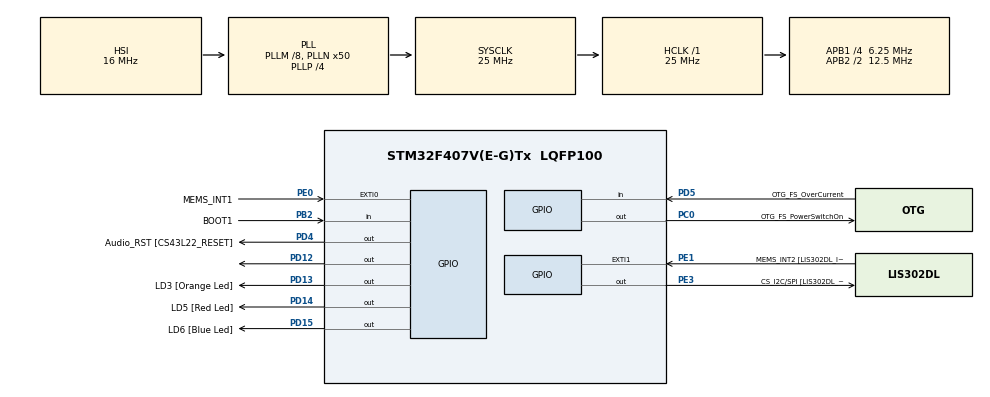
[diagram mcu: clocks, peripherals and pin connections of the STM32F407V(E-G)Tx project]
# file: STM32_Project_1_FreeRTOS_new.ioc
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FREERTOS.BinarySemaphores01=tapSemaphore,Dynamic,NULL,Depleted
FREERTOS.Mutexes01=uartMutex,Dynamic,NULL,Available;sensorMutex,Dynamic,NULL,Available
FREERTOS.Queues01=sensorQueue,8,SensorPortRawData_t,0,Dynamic,NULL,NULL
FREERTOS.Tasks01=defaultTask,8,256,StartDefaultTask,Default,NULL,Dynamic,NULL,NULL;sensorTask,24,256,StartSensorTask,Default,NULL,Dynamic,NULL,NULL;processingTask,16,256,StartProcessingTask,Default,NULL,Dynamic,NULL,NULL;telemetryTask,16,512,StartTelemetryTask,Default,NULL,Dynamic,NULL,NULL;cliTask,24,512,StartCliTask,Default,NULL,Dynamic,NULL,NULL
FREERTOS.configUSE_NEWLIB_REENTRANT=1
Mcu.Family=STM32F4
Mcu.Name=STM32F407V(E-G)Tx
Mcu.Package=LQFP100
NVIC.EXTI0_IRQn=true\:6\:0\:true\:false\:true\:true\:true\:true\:true
NVIC.PriorityGroup=NVIC_PRIORITYGROUP_4
NVIC.TIM6_DAC_IRQn=true\:15\:0\:false\:false\:true\:false\:false\:true\:true
NVIC.TimeBase=TIM6_DAC_IRQn
NVIC.TimeBaseIP=TIM6
PA10.GPIO_Label=OTG_FS_ID
PA10.GPIO_Mode=GPIO_MODE_AF_PP
PA10.GPIO_PuPd=GPIO_NOPULL
PA10.GPIO_Speed=GPIO_SPEED_FREQ_LOW
PA10.Signal=USB_OTG_FS_ID
PA11.GPIO_Label=OTG_FS_DM
PA11.GPIO_Mode=GPIO_MODE_AF_PP
PA11.GPIO_PuPd=GPIO_NOPULL
PA11.GPIO_Speed=GPIO_SPEED_FREQ_LOW
PA11.Signal=USB_OTG_FS_DM
PA12.GPIO_Label=OTG_FS_DP
PA12.GPIO_Mode=GPIO_MODE_AF_PP
PA12.GPIO_PuPd=GPIO_NOPULL
PA12.GPIO_Speed=GPIO_SPEED_FREQ_LOW
PA12.Signal=USB_OTG_FS_DP
PA13.GPIO_Label=SWDIO
PA13.Mode=Serial_Wire
PA13.Signal=SYS_JTMS-SWDIO
PA14.GPIO_Label=SWCLK
PA14.Mode=Serial_Wire
PA14.Signal=SYS_JTCK-SWCLK
PA4.GPIO_Label=I2S3_WS [CS43L22_LRCK]
PA4.GPIO_Mode=GPIO_MODE_AF_PP
PA4.GPIO_PuPd=GPIO_NOPULL
PA4.GPIO_Speed=GPIO_SPEED_FREQ_LOW
PA4.Signal=I2S3_WS
PA5.GPIO_Label=SPI1_SCK [LIS302DL_SCL/SPC]
PA5.GPIO_Mode=GPIO_MODE_AF_PP
PA5.GPIO_PuPd=GPIO_NOPULL
PA5.GPIO_Speed=GPIO_SPEED_FREQ_LOW
PA5.Signal=SPI1_SCK
PA6.GPIO_Label=SPI1_MISO [LIS302DL_SDO]
PA6.GPIO_Mode=GPIO_MODE_AF_PP
PA6.GPIO_PuPd=GPIO_NOPULL
PA6.GPIO_Speed=GPIO_SPEED_FREQ_LOW
PA6.Signal=SPI1_MISO
PA7.GPIO_Label=SPI1_MOSI [LIS302DL_SDA/SDI/SDO]
PA7.GPIO_Mode=GPIO_MODE_AF_PP
PA7.GPIO_PuPd=GPIO_NOPULL
PA7.GPIO_Speed=GPIO_SPEED_FREQ_LOW
PA7.Signal=SPI1_MOSI
PA9.GPIO_Label=VBUS_FS
PA9.GPIO_Mode=GPIO_MODE_INPUT
PA9.GPIO_PuPd=GPIO_NOPULL
PA9.Signal=USB_OTG_FS_VBUS
PB10.GPIO_Label=CLK_IN [MP45DT02_CLK]
PB10.GPIO_Mode=GPIO_MODE_AF_PP
PB10.GPIO_PuPd=GPIO_NOPULL
PB10.GPIO_Speed=GPIO_SPEED_FREQ_LOW
PB10.Signal=I2S2_CK
PB2.GPIO_Label=BOOT1
PB2.GPIO_Mode=GPIO_MODE_INPUT
PB2.GPIO_PuPd=GPIO_NOPULL
PB2.Signal=GPIO_Input
PB3.GPIO_Label=SWO
PB3.Signal=SYS_JTDO-SWO
PB6.GPIO_Label=Audio_SCL [CS43L22_SCL]
PB6.GPIO_Mode=GPIO_MODE_AF_OD
PB6.GPIO_PuPd=GPIO_NOPULL
PB6.GPIO_Speed=GPIO_SPEED_FREQ_LOW
PB6.Signal=I2C1_SCL
PB9.GPIO_Label=Audio_SDA [CS43L22_SDA]
PB9.GPIO_Mode=GPIO_MODE_AF_OD
PB9.GPIO_PuPd=GPIO_NOPULL
PB9.GPIO_Speed=GPIO_SPEED_FREQ_LOW
PB9.Signal=I2C1_SDA
PC0.GPIO_Label=OTG_FS_PowerSwitchOn
PC0.GPIO_PuPd=GPIO_NOPULL
PC0.GPIO_Speed=GPIO_SPEED_FREQ_LOW
PC0.PinState=GPIO_PIN_SET
PC0.Signal=GPIO_Output
PC10.GPIO_Label=I2S3_SCK [CS43L22_SCLK]
PC10.GPIO_Mode=GPIO_MODE_AF_PP
PC10.GPIO_PuPd=GPIO_NOPULL
PC10.GPIO_Speed=GPIO_SPEED_FREQ_LOW
PC10.Signal=I2S3_CK
PC12.GPIO_Label=I2S3_SD [CS43L22_SDIN]
PC12.GPIO_Mode=GPIO_MODE_AF_PP
PC12.GPIO_PuPd=GPIO_NOPULL
PC12.GPIO_Speed=GPIO_SPEED_FREQ_LOW
PC12.Signal=I2S3_SD
PC14-OSC32_IN.GPIO_Label=PC14-OSC32_IN
PC14-OSC32_IN.Signal=RCC_OSC32_IN
PC15-OSC32_OUT.GPIO_Label=PC15-OSC32_OUT
PC15-OSC32_OUT.Signal=RCC_OSC32_OUT
PC3.GPIO_Label=PDM_OUT [MP45DT02_DOUT]
PC3.GPIO_Mode=GPIO_MODE_AF_PP
PC3.GPIO_PuPd=GPIO_NOPULL
PC3.GPIO_Speed=GPIO_SPEED_FREQ_LOW
PC3.Signal=I2S2_SD
PC7.GPIO_Label=I2S3_MCK [CS43L22_MCLK]
PC7.GPIO_Mode=GPIO_MODE_AF_PP
PC7.GPIO_PuPd=GPIO_NOPULL
PC7.GPIO_Speed=GPIO_SPEED_FREQ_LOW
PC7.Signal=I2S3_MCK
PD12.Signal=GPIO_Output
PD13.GPIO_Label=LD3 [Orange Led]
PD13.GPIO_PuPd=GPIO_NOPULL
PD13.GPIO_Speed=GPIO_SPEED_FREQ_LOW
PD13.Signal=GPIO_Output
PD14.GPIO_Label=LD5 [Red Led]
PD14.GPIO_PuPd=GPIO_NOPULL
PD14.GPIO_Speed=GPIO_SPEED_FREQ_LOW
PD14.Signal=GPIO_Output
PD15.GPIO_Label=LD6 [Blue Led]
PD15.GPIO_PuPd=GPIO_NOPULL
PD15.GPIO_Speed=GPIO_SPEED_FREQ_LOW
PD15.Signal=GPIO_Output
PD4.GPIO_Label=Audio_RST [CS43L22_RESET]
PD4.GPIO_PuPd=GPIO_NOPULL
PD4.GPIO_Speed=GPIO_SPEED_FREQ_LOW
PD4.Signal=GPIO_Output
PD5.GPIO_Label=OTG_FS_OverCurrent
PD5.GPIO_Mode=GPIO_MODE_INPUT
PD5.GPIO_PuPd=GPIO_NOPULL
PD5.Signal=GPIO_Input
PE0.GPIO_Label=MEMS_INT1
PE0.Signal=GPXTI0
PE1.GPIO_Label=MEMS_INT2 [LIS302DL_INT2]
PE1.GPIO_ModeDefaultEXTI=GPIO_MODE_EVT_RISING
PE1.GPIO_PuPd=GPIO_NOPULL
PE1.Signal=GPXTI1
PE3.GPIO_Label=CS_I2C/SPI [LIS302DL_CS_I2C/SPI]
PE3.GPIO_PuPd=GPIO_NOPULL
PE3.GPIO_Speed=GPIO_SPEED_FREQ_LOW
PE3.Signal=GPIO_Output
PH0-OSC_IN.GPIO_Label=PH0-OSC_IN
PH0-OSC_IN.Signal=RCC_OSC_IN
PH1-OSC_OUT.GPIO_Label=PH1-OSC_OUT
PH1-OSC_OUT.Signal=RCC_OSC_OUT
ProjectManager.HeapSize=0x200
ProjectManager.StackSize=0x400
ProjectManager.TargetToolchain=STM32CubeIDE
RCC.48MHZClocksFreq_Value=14285714.285714285
RCC.AHBFreq_Value=25000000
RCC.APB1CLKDivider=RCC_HCLK_DIV4
RCC.APB1Freq_Value=6250000
RCC.APB1TimFreq_Value=12500000
RCC.APB2CLKDivider=RCC_HCLK_DIV2
RCC.APB2Freq_Value=12500000
RCC.APB2TimFreq_Value=25000000
RCC.CortexFreq_Value=25000000
RCC.HCLKFreq_Value=25000000
RCC.HSE_VALUE=8000000
RCC.HSI_VALUE=16000000
RCC.LSE_VALUE=32768
RCC.PLLM=8
RCC.PLLN=50
RCC.PLLP=RCC_PLLP_DIV4
RCC.PLLQ=7
RCC.SYSCLKFreq_VALUE=25000000
RCC.SYSCLKSource=RCC_SYSCLKSOURCE_PLLCLK
RCC.VCOOutputFreq_Value=100000000
VP_FREERTOS_VS_CMSIS_V2.Mode=CMSIS_V2
VP_SYS_VS_tim6.Mode=TIM6
board=STM32F407G-DISC1

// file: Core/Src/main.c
/* USER CODE BEGIN Header */
/**
  ******************************************************************************
  * @file           : main.c
  * @brief          : Main program body
  ******************************************************************************
  * @attention
  *
  * Copyright (c) 2026 STMicroelectronics.
  * All rights reserved.
  *
  * This software is licensed under terms that can be found in the LICENSE file
  * in the root directory of this software component.
  * If no LICENSE file comes with this software, it is provided AS-IS.
  *
  ******************************************************************************
  */
/* USER CODE END Header */
#include "main.h"
#include "cmsis_os.h"
#include "FreeRTOS.h"

/* USER CODE BEGIN Includes */
#include "sensor_port.h"
#include "orientation.h"
#include "motion_detection.h"
#include "board.h"
#include "uart_async.h"
#include "cli.h"
#include <stdio.h>
/* USER CODE END Includes */

/* USER CODE BEGIN PD */
#define APP_THREAD_FLAG_TAP (1U << 0)
#define APP_TAP_FLASH_MS 200U
/* USER CODE END PD */

/* Definitions for defaultTask */
osThreadId_t defaultTaskHandle;
const osThreadAttr_t defaultTask_attributes = {
  .name = "defaultTask",
  .stack_size = 256 * 4,
  .priority = (osPriority_t) osPriorityLow,
};
/* Definitions for sensorTask */
osThreadId_t sensorTaskHandle;
const osThreadAttr_t sensorTask_attributes = {
  .name = "sensorTask",
  .stack_size = 256 * 4,
  .priority = (osPriority_t) osPriorityNormal,
};
/* Definitions for processingTask */
osThreadId_t processingTaskHandle;
const osThreadAttr_t processingTask_attributes = {
  .name = "processingTask",
  .stack_size = 256 * 4,
  .priority = (osPriority_t) osPriorityBelowNormal,
};
/* Definitions for telemetryTask */
osThreadId_t telemetryTaskHandle;
const osThreadAttr_t telemetryTask_attributes = {
  .name = "telemetryTask",
  .stack_size = 512 * 4,
  .priority = (osPriority_t) osPriorityBelowNormal,
};
/* Definitions for cliTask */
osThreadId_t cliTaskHandle;
const osThreadAttr_t cliTask_attributes = {
  .name = "cliTask",
  .stack_size = 512 * 4,
  .priority = (osPriority_t) osPriorityNormal,
};
/* Definitions for sensorQueue */
osMessageQueueId_t sensorQueueHandle;
const osMessageQueueAttr_t sensorQueue_attributes = {
  .name = "sensorQueue"
};
/* Definitions for uartMutex */
osMutexId_t uartMutexHandle;
const osMutexAttr_t uartMutex_attributes = {
  .name = "uartMutex"
};
/* Definitions for sensorMutex */
osMutexId_t sensorMutexHandle;
const osMutexAttr_t sensorMutex_attributes = {
  .name = "sensorMutex"
};
/* Definitions for tapSemaphore */
osSemaphoreId_t tapSemaphoreHandle;
const osSemaphoreAttr_t tapSemaphore_attributes = {
  .name = "tapSemaphore"
};
/* USER CODE BEGIN PV */

volatile uint8_t g_sensorInitStatus = 0U;
volatile uint8_t g_sensorId = 0U;
volatile uint32_t g_sensorTaskCount = 0U;
volatile int16_t g_sensorRawX = 0;
volatile int16_t g_sensorRawY = 0;
volatile int16_t g_sensorRawZ = 0;
volatile uint32_t g_sensorReadCount = 0U;

volatile uint32_t g_sensorQueueSendCount = 0U;
volatile uint32_t g_sensorQueueReceiveCount = 0U;
volatile uint32_t g_sensorQueueDropCount = 0U;

volatile int32_t g_sensorMgX = 0;
volatile int32_t g_sensorMgY = 0;
volatile int32_t g_sensorMgZ = 0;
volatile Orientation_t g_orientation = ORIENTATION_UNKNOWN;
volatile uint32_t g_processedSampleCount = 0U;

volatile TiltDirection_t g_tiltDirection = TILT_LEVEL;
volatile uint32_t g_tapIsrCount = 0U;

volatile uint8_t g_tapHardwareInitStatus = 0U;
volatile uint8_t g_lastTapInterruptSource = 0U;
volatile uint32_t g_tapCount = 0U;

static USART_Handle_t g_usart2Handle = {0};

const UART2_AsyncStats_t *g_uartStats = NULL;

volatile uint32_t g_telemetryFramesGenerated = 0U;
volatile uint32_t g_telemetryFramesDropped = 0U;

volatile uint8_t g_telemetryEnabled = 1U;
volatile uint16_t g_sensorRateHz = 100U;
volatile uint32_t g_rxBytesConsumed = 0U;
volatile LIS3DSH_MgData_t g_latestAccelerationMg = {0};

volatile uint32_t g_currentFreeHeapBytes = 0U;
volatile uint32_t g_minimumEverFreeHeapBytes = 0U;

volatile uint32_t g_defaultTaskStackFreeBytes = 0U;
volatile uint32_t g_sensorTaskStackFreeBytes = 0U;
volatile uint32_t g_processingTaskStackFreeBytes = 0U;
volatile uint32_t g_telemetryTaskStackFreeBytes = 0U;
volatile uint32_t g_cliTaskStackFreeBytes = 0U;

/* USER CODE END PV */

void SystemClock_Config(void);
static void MX_GPIO_Init(void);
void StartDefaultTask(void *argument);
void StartSensorTask(void *argument);
void StartProcessingTask(void *argument);
void StartTelemetryTask(void *argument);
void StartCliTask(void *argument);

/* USER CODE BEGIN PFP */
static void Application_ShowTiltLED(TiltDirection_t tilt);
/* USER CODE END PFP */

int main(void)
{

  /* MCU Configuration--------------------------------------------------------*/

  /* Reset of all peripherals, Initializes the Flash interface and the Systick. */
  HAL_Init();

  /* Configure the system clock */
  SystemClock_Config();

  /* Initialize all configured peripherals */
  MX_GPIO_Init();
  /* USER CODE BEGIN 2 */
  USART2_GPIO_Init();
  USART2_InitForTest(&g_usart2Handle);
  USART2->BRR = (HAL_RCC_GetPCLK1Freq() + 57600U) / 115200U;
  UART2_AsyncInit();
  g_uartStats = UART2_AsyncGetStats();

  g_sensorInitStatus = SensorPort_Init();
  g_sensorId = SensorPort_ReadId();
  Orientation_Init();
  MotionDetection_Init();
  /* USER CODE END 2 */

  /* Init scheduler */
  osKernelInitialize();
  /* Create the mutex(es) */
  /* creation of uartMutex */
  uartMutexHandle = osMutexNew(&uartMutex_attributes);

  /* creation of sensorMutex */
  sensorMutexHandle = osMutexNew(&sensorMutex_attributes);

  /* Create the semaphores(s) */
  /* creation of tapSemaphore */
  tapSemaphoreHandle = osSemaphoreNew(1, 0, &tapSemaphore_attributes);

  /* Create the queue(s) */
  /* creation of sensorQueue */
  sensorQueueHandle = osMessageQueueNew (8, sizeof(SensorPortRawData_t), &sensorQueue_attributes);

  /* Create the thread(s) */
  /* creation of defaultTask */
  defaultTaskHandle = osThreadNew(StartDefaultTask, NULL, &defaultTask_attributes);

  /* creation of sensorTask */
  sensorTaskHandle = osThreadNew(StartSensorTask, NULL, &sensorTask_attributes);

  /* creation of processingTask */
  processingTaskHandle = osThreadNew(StartProcessingTask, NULL, &processingTask_attributes);

  /* creation of telemetryTask */
  telemetryTaskHandle = osThreadNew(StartTelemetryTask, NULL, &telemetryTask_attributes);

  /* creation of cliTask */
  cliTaskHandle = osThreadNew(StartCliTask, NULL, &cliTask_attributes);

  /* Start scheduler */
  osKernelStart();

  /* We should never get here as control is now taken by the scheduler */

  /* Infinite loop */
  while (1)
  {

  }
}

void SystemClock_Config(void)
{
  RCC_OscInitTypeDef RCC_OscInitStruct = {0};
  RCC_ClkInitTypeDef RCC_ClkInitStruct = {0};

  /** Configure the main internal regulator output voltage
  */
  __HAL_RCC_PWR_CLK_ENABLE();
  __HAL_PWR_VOLTAGESCALING_CONFIG(PWR_REGULATOR_VOLTAGE_SCALE1);

  /** Initializes the RCC Oscillators according to the specified parameters
  * in the RCC_OscInitTypeDef structure.
  */
  RCC_OscInitStruct.OscillatorType = RCC_OSCILLATORTYPE_HSI;
  RCC_OscInitStruct.HSIState = RCC_HSI_ON;
  RCC_OscInitStruct.HSICalibrationValue = RCC_HSICALIBRATION_DEFAULT;
  RCC_OscInitStruct.PLL.PLLState = RCC_PLL_ON;
  RCC_OscInitStruct.PLL.PLLSource = RCC_PLLSOURCE_HSI;
  RCC_OscInitStruct.PLL.PLLM = 8;
  RCC_OscInitStruct.PLL.PLLN = 50;
  RCC_OscInitStruct.PLL.PLLP = RCC_PLLP_DIV4;
  RCC_OscInitStruct.PLL.PLLQ = 7;
  if (HAL_RCC_OscConfig(&RCC_OscInitStruct) != HAL_OK)
  {
    Error_Handler();
  }

  /** Initializes the CPU, AHB and APB buses clocks
  */
  RCC_ClkInitStruct.ClockType = RCC_CLOCKTYPE_HCLK|RCC_CLOCKTYPE_SYSCLK
                              |RCC_CLOCKTYPE_PCLK1|RCC_CLOCKTYPE_PCLK2;
  RCC_ClkInitStruct.SYSCLKSource = RCC_SYSCLKSOURCE_PLLCLK;
  RCC_ClkInitStruct.AHBCLKDivider = RCC_SYSCLK_DIV1;
  RCC_ClkInitStruct.APB1CLKDivider = RCC_HCLK_DIV4;
  RCC_ClkInitStruct.APB2CLKDivider = RCC_HCLK_DIV2;

  if (HAL_RCC_ClockConfig(&RCC_ClkInitStruct, FLASH_LATENCY_0) != HAL_OK)
  {
    Error_Handler();
  }
}

static void MX_GPIO_Init(void)
{
  GPIO_InitTypeDef GPIO_InitStruct = {0};

  /* GPIO Ports Clock Enable */
  __HAL_RCC_GPIOE_CLK_ENABLE();
  __HAL_RCC_GPIOC_CLK_ENABLE();
  __HAL_RCC_GPIOH_CLK_ENABLE();
  __HAL_RCC_GPIOA_CLK_ENABLE();
  __HAL_RCC_GPIOB_CLK_ENABLE();
  __HAL_RCC_GPIOD_CLK_ENABLE();

  /*Configure GPIO pin Output Level */
  HAL_GPIO_WritePin(CS_I2C_SPI_GPIO_Port, CS_I2C_SPI_Pin, GPIO_PIN_RESET);

  /*Configure GPIO pin Output Level */
  HAL_GPIO_WritePin(OTG_FS_PowerSwitchOn_GPIO_Port, OTG_FS_PowerSwitchOn_Pin, GPIO_PIN_SET);

  /*Configure GPIO pin Output Level */
  HAL_GPIO_WritePin(GPIOD, GPIO_PIN_12|LD3_Pin|LD5_Pin|LD6_Pin
                          |Audio_RST_Pin, GPIO_PIN_RESET);

  /*Configure GPIO pin : CS_I2C_SPI_Pin */
  GPIO_InitStruct.Pin = CS_I2C_SPI_Pin;
  GPIO_InitStruct.Mode = GPIO_MODE_OUTPUT_PP;
  GPIO_InitStruct.Pull = GPIO_NOPULL;
  GPIO_InitStruct.Speed = GPIO_SPEED_FREQ_LOW;
  HAL_GPIO_Init(CS_I2C_SPI_GPIO_Port, &GPIO_InitStruct);

  /*Configure GPIO pin : OTG_FS_PowerSwitchOn_Pin */
  GPIO_InitStruct.Pin = OTG_FS_PowerSwitchOn_Pin;
  GPIO_InitStruct.Mode = GPIO_MODE_OUTPUT_PP;
  GPIO_InitStruct.Pull = GPIO_NOPULL;
  GPIO_InitStruct.Speed = GPIO_SPEED_FREQ_LOW;
  HAL_GPIO_Init(OTG_FS_PowerSwitchOn_GPIO_Port, &GPIO_InitStruct);

  /*Configure GPIO pin : PDM_OUT_Pin */
  GPIO_InitStruct.Pin = PDM_OUT_Pin;
  GPIO_InitStruct.Mode = GPIO_MODE_AF_PP;
  GPIO_InitStruct.Pull = GPIO_NOPULL;
  GPIO_InitStruct.Speed = GPIO_SPEED_FREQ_LOW;
  GPIO_InitStruct.Alternate = GPIO_AF5_SPI2;
  HAL_GPIO_Init(PDM_OUT_GPIO_Port, &GPIO_InitStruct);

  /*Configure GPIO pin : I2S3_WS_Pin */
  GPIO_InitStruct.Pin = I2S3_WS_Pin;
  GPIO_InitStruct.Mode = GPIO_MODE_AF_PP;
  GPIO_InitStruct.Pull = GPIO_NOPULL;
  GPIO_InitStruct.Speed = GPIO_SPEED_FREQ_LOW;
  GPIO_InitStruct.Alternate = GPIO_AF6_SPI3;
  HAL_GPIO_Init(I2S3_WS_GPIO_Port, &GPIO_InitStruct);

  /*Configure GPIO pins : SPI1_SCK_Pin SPI1_MISO_Pin SPI1_MOSI_Pin */
  GPIO_InitStruct.Pin = SPI1_SCK_Pin|SPI1_MISO_Pin|SPI1_MOSI_Pin;
  GPIO_InitStruct.Mode = GPIO_MODE_AF_PP;
  GPIO_InitStruct.Pull = GPIO_NOPULL;
  GPIO_InitStruct.Speed = GPIO_SPEED_FREQ_LOW;
  GPIO_InitStruct.Alternate = GPIO_AF5_SPI1;
  HAL_GPIO_Init(GPIOA, &GPIO_InitStruct);

  /*Configure GPIO pin : BOOT1_Pin */
  GPIO_InitStruct.Pin = BOOT1_Pin;
  GPIO_InitStruct.Mode = GPIO_MODE_INPUT;
  GPIO_InitStruct.Pull = GPIO_NOPULL;
  HAL_GPIO_Init(BOOT1_GPIO_Port, &GPIO_InitStruct);

  /*Configure GPIO pin : CLK_IN_Pin */
  GPIO_InitStruct.Pin = CLK_IN_Pin;
  GPIO_InitStruct.Mode = GPIO_MODE_AF_PP;
  GPIO_InitStruct.Pull = GPIO_NOPULL;
  GPIO_InitStruct.Speed = GPIO_SPEED_FREQ_LOW;
  GPIO_InitStruct.Alternate = GPIO_AF5_SPI2;
  HAL_GPIO_Init(CLK_IN_GPIO_Port, &GPIO_InitStruct);

  /*Configure GPIO pins : PD12 LD3_Pin LD5_Pin LD6_Pin
                           Audio_RST_Pin */
  GPIO_InitStruct.Pin = GPIO_PIN_12|LD3_Pin|LD5_Pin|LD6_Pin
                          |Audio_RST_Pin;
  GPIO_InitStruct.Mode = GPIO_MODE_OUTPUT_PP;
  GPIO_InitStruct.Pull = GPIO_NOPULL;
  GPIO_InitStruct.Speed = GPIO_SPEED_FREQ_LOW;
  HAL_GPIO_Init(GPIOD, &GPIO_InitStruct);

  /*Configure GPIO pins : I2S3_MCK_Pin I2S3_SCK_Pin I2S3_SD_Pin */
  GPIO_InitStruct.Pin = I2S3_MCK_Pin|I2S3_SCK_Pin|I2S3_SD_Pin;
  GPIO_InitStruct.Mode = GPIO_MODE_AF_PP;
  GPIO_InitStruct.Pull = GPIO_NOPULL;
  GPIO_InitStruct.Speed = GPIO_SPEED_FREQ_LOW;
  GPIO_InitStruct.Alternate = GPIO_AF6_SPI3;
  HAL_GPIO_Init(GPIOC, &GPIO_InitStruct);

  /*Configure GPIO pin : VBUS_FS_Pin */
  GPIO_InitStruct.Pin = VBUS_FS_Pin;
  GPIO_InitStruct.Mode = GPIO_MODE_INPUT;
  GPIO_InitStruct.Pull = GPIO_NOPULL;
  HAL_GPIO_Init(VBUS_FS_GPIO_Port, &GPIO_InitStruct);

  /*Configure GPIO pins : OTG_FS_ID_Pin OTG_FS_DM_Pin OTG_FS_DP_Pin */
  GPIO_InitStruct.Pin = OTG_FS_ID_Pin|OTG_FS_DM_Pin|OTG_FS_DP_Pin;
  GPIO_InitStruct.Mode = GPIO_MODE_AF_PP;
  GPIO_InitStruct.Pull = GPIO_NOPULL;
  GPIO_InitStruct.Speed = GPIO_SPEED_FREQ_LOW;
  GPIO_InitStruct.Alternate = GPIO_AF10_OTG_FS;
  HAL_GPIO_Init(GPIOA, &GPIO_InitStruct);

  /*Configure GPIO pin : OTG_FS_OverCurrent_Pin */
  GPIO_InitStruct.Pin = OTG_FS_OverCurrent_Pin;
  GPIO_InitStruct.Mode = GPIO_MODE_INPUT;
  GPIO_InitStruct.Pull = GPIO_NOPULL;
  HAL_GPIO_Init(OTG_FS_OverCurrent_GPIO_Port, &GPIO_InitStruct);

  /*Configure GPIO pins : Audio_SCL_Pin Audio_SDA_Pin */
  GPIO_InitStruct.Pin = Audio_SCL_Pin|Audio_SDA_Pin;
  GPIO_InitStruct.Mode = GPIO_MODE_AF_OD;
  GPIO_InitStruct.Pull = GPIO_NOPULL;
  GPIO_InitStruct.Speed = GPIO_SPEED_FREQ_LOW;
  GPIO_InitStruct.Alternate = GPIO_AF4_I2C1;
  HAL_GPIO_Init(GPIOB, &GPIO_InitStruct);

  /*Configure GPIO pin : MEMS_INT1_Pin */
  GPIO_InitStruct.Pin = MEMS_INT1_Pin;
  GPIO_InitStruct.Mode = GPIO_MODE_IT_RISING;
  GPIO_InitStruct.Pull = GPIO_NOPULL;
  HAL_GPIO_Init(MEMS_INT1_GPIO_Port, &GPIO_InitStruct);

  /*Configure GPIO pin : MEMS_INT2_Pin */
  GPIO_InitStruct.Pin = MEMS_INT2_Pin;
  GPIO_InitStruct.Mode = GPIO_MODE_EVT_RISING;
  GPIO_InitStruct.Pull = GPIO_NOPULL;
  HAL_GPIO_Init(MEMS_INT2_GPIO_Port, &GPIO_InitStruct);

  /* EXTI interrupt init*/
  HAL_NVIC_SetPriority(EXTI0_IRQn, 6, 0);
  HAL_NVIC_EnableIRQ(EXTI0_IRQn);

}

/* USER CODE BEGIN 4 */
static void Application_ShowTiltLED(TiltDirection_t tilt)
{
    HAL_GPIO_WritePin((GPIO_TypeDef *)GPIOD, GPIO_PIN_12 | GPIO_PIN_13 | GPIO_PIN_14 | GPIO_PIN_15, GPIO_PIN_RESET);

    if ((tilt & TILT_LEFT) != 0U)
    {
        HAL_GPIO_WritePin((GPIO_TypeDef *)GPIOD, GPIO_PIN_12, GPIO_PIN_SET);
    }

    if ((tilt & TILT_RIGHT) != 0U)
    {
        HAL_GPIO_WritePin((GPIO_TypeDef *)GPIOD, GPIO_PIN_14, GPIO_PIN_SET);
    }

    if ((tilt & TILT_FORWARD) != 0U)
    {
        HAL_GPIO_WritePin((GPIO_TypeDef *)GPIOD, GPIO_PIN_13, GPIO_PIN_SET);
    }

    if ((tilt & TILT_BACKWARD) != 0U)
    {
        HAL_GPIO_WritePin((GPIO_TypeDef *)GPIOD, GPIO_PIN_15, GPIO_PIN_SET);
    }
}

void HAL_GPIO_EXTI_Callback(uint16_t GPIO_Pin)
{
    if ((GPIO_Pin == GPIO_PIN_0) && (tapSemaphoreHandle != NULL))
    {
        g_tapIsrCount++;
        (void)osSemaphoreRelease(tapSemaphoreHandle);
    }
}
/* USER CODE END 4 */

void StartDefaultTask(void *argument)
{
    /* USER CODE BEGIN 5 */
    (void)argument;

    for (;;)
    {
        g_currentFreeHeapBytes = xPortGetFreeHeapSize();
        g_minimumEverFreeHeapBytes = xPortGetMinimumEverFreeHeapSize();

        g_defaultTaskStackFreeBytes = osThreadGetStackSpace(defaultTaskHandle);
        g_sensorTaskStackFreeBytes = osThreadGetStackSpace(sensorTaskHandle);
        g_processingTaskStackFreeBytes = osThreadGetStackSpace(processingTaskHandle);
        g_telemetryTaskStackFreeBytes = osThreadGetStackSpace(telemetryTaskHandle);
        g_cliTaskStackFreeBytes = osThreadGetStackSpace(cliTaskHandle);

        osDelay(1000U);
    }
    /* USER CODE END 5 */
}

void StartSensorTask(void *argument)
{
    /* USER CODE BEGIN StartSensorTask */
    SensorPortRawData_t sample;
    uint32_t nextWakeTime;
    uint32_t sensorPeriodTicks;
    uint8_t sampleAvailable;

    (void)argument;

    HAL_NVIC_DisableIRQ(EXTI0_IRQn);

    if (osMutexAcquire(sensorMutexHandle, osWaitForever) == osOK)
    {
    	g_tapHardwareInitStatus = SensorPort_EnableDoubleTap(g_sensorRateHz);

    	osDelay(50U);

    	(void)SensorPort_ClearTapInterrupt();
    	(void)osMutexRelease(sensorMutexHandle);
    }

    __HAL_GPIO_EXTI_CLEAR_IT(MEMS_INT1_Pin);

    while (osSemaphoreAcquire(tapSemaphoreHandle, 0U) == osOK)
    {
    }

    g_tapIsrCount = 0U;
    g_tapCount = 0U;
    g_lastTapInterruptSource = 0U;

    HAL_NVIC_EnableIRQ(EXTI0_IRQn);

    nextWakeTime = osKernelGetTickCount();

    for (;;)
    {
        sampleAvailable = 0U;

        if (osMutexAcquire(sensorMutexHandle, osWaitForever) == osOK)
        {
            if ((g_sensorInitStatus != 0U) && (SensorPort_IsDataReady() != 0U))
            {
                SensorPort_ReadRaw(&sample);
                g_sensorReadCount++;
                sampleAvailable = 1U;
            }

            (void)osMutexRelease(sensorMutexHandle);
        }

        if (sampleAvailable != 0U)
        {
            if (osMessageQueuePut(sensorQueueHandle, &sample, 0U, 0U) == osOK)
            {
                g_sensorQueueSendCount++;
            }
            else
            {
                g_sensorQueueDropCount++;
            }
        }

        if (osSemaphoreAcquire(tapSemaphoreHandle, 0U) == osOK)
        {
            if (osMutexAcquire(sensorMutexHandle, osWaitForever) == osOK)
            {
                g_lastTapInterruptSource = SensorPort_ClearTapInterrupt();
                (void)osMutexRelease(sensorMutexHandle);
            }

            g_tapCount++;
            (void)osThreadFlagsSet(processingTaskHandle, APP_THREAD_FLAG_TAP);
        }

        sensorPeriodTicks = osKernelGetTickFreq() / (uint32_t)g_sensorRateHz;

        if (sensorPeriodTicks == 0U)
        {
            sensorPeriodTicks = 1U;
        }

        nextWakeTime += sensorPeriodTicks;
        osDelayUntil(nextWakeTime);
    }
    /* USER CODE END StartSensorTask */
}

void StartProcessingTask(void *argument)
{
  /* USER CODE BEGIN StartProcessingTask */
    SensorPortRawData_t receivedSample;
    LIS3DSH_Data_t rawData;
    LIS3DSH_MgData_t mgData;
    uint32_t receivedFlags;
    uint32_t tapFlashSamples = 0U;

    (void)argument;

    for (;;)
    {
        if (osMessageQueueGet(sensorQueueHandle, &receivedSample, NULL, osWaitForever) == osOK)
        {
            rawData.x = receivedSample.x;
            rawData.y = receivedSample.y;
            rawData.z = receivedSample.z;

            LIS3DSH_ConvertRawToMg(&rawData, &mgData);
            g_latestAccelerationMg = mgData;

            g_sensorRawX = rawData.x;
            g_sensorRawY = rawData.y;
            g_sensorRawZ = rawData.z;

            g_sensorMgX = mgData.x;
            g_sensorMgY = mgData.y;
            g_sensorMgZ = mgData.z;

            g_orientation = Orientation_Update(&mgData);
            g_tiltDirection = MotionDetection_UpdateTilt(&mgData);

            receivedFlags = osThreadFlagsWait(APP_THREAD_FLAG_TAP, osFlagsWaitAny, 0U);

            if (((receivedFlags & osFlagsError) == 0U) && ((receivedFlags & APP_THREAD_FLAG_TAP) != 0U))
            {
                tapFlashSamples = (((uint32_t)g_sensorRateHz * APP_TAP_FLASH_MS) + 999U) / 1000U;

                if (tapFlashSamples == 0U)
                {
                	tapFlashSamples = 1U;
                }
            }

            if (tapFlashSamples > 0U)
            {
                HAL_GPIO_WritePin((GPIO_TypeDef *)GPIOD, GPIO_PIN_12 | GPIO_PIN_13 | GPIO_PIN_14 | GPIO_PIN_15, GPIO_PIN_SET);
                tapFlashSamples--;
            }
            else
            {
                Application_ShowTiltLED(g_tiltDirection);
            }

            g_sensorQueueReceiveCount++;
            g_processedSampleCount++;
        }
    }
  /* USER CODE END StartProcessingTask */
}

void StartTelemetryTask(void *argument)
{
  /* USER CODE BEGIN StartTelemetryTask */
    char message[160];
    int messageLength;
    uint8_t queuedSuccessfully;
    uint32_t nextWakeTime;
    uint32_t telemetryPeriodTicks;

    (void)argument;

    telemetryPeriodTicks = (osKernelGetTickFreq() * 100U) / 1000U;
    nextWakeTime = osKernelGetTickCount();

    for (;;)
    {
  if (g_telemetryEnabled != 0U)
    {
        messageLength = snprintf(message, sizeof(message), "X=%ld,Y=%ld,Z=%ld,O=%s,T=%s,Taps=%lu\r\n", (long)g_sensorMgX, (long)g_sensorMgY, (long)g_sensorMgZ, Orientation_GetName(g_orientation), MotionDetection_GetTiltName(g_tiltDirection), (unsigned long)g_tapCount);

        if ((messageLength > 0) && ((uint32_t)messageLength < sizeof(message)))
        {
            g_telemetryFramesGenerated++;

            if (osMutexAcquire(uartMutexHandle, osWaitForever) == osOK)
            {
                queuedSuccessfully = UART2_AsyncQueueTx((const uint8_t *)message, (uint16_t)messageLength);
                (void)osMutexRelease(uartMutexHandle);

                if (queuedSuccessfully == 0U)
                {
                    g_telemetryFramesDropped++;
                }
            }
            else
            {
                g_telemetryFramesDropped++;
            }
        }
        else
        {
            g_telemetryFramesDropped++;
        }
    }

    nextWakeTime += telemetryPeriodTicks;
    osDelayUntil(nextWakeTime);
    }
}
  /* USER CODE END StartTelemetryTask */

void StartCliTask(void *argument)
{
  /* USER CODE BEGIN StartCliTask */
    CLI_Context_t cliContext;
    uint8_t receivedByte;

    (void)argument;

    cliContext.pAcceleration = &g_latestAccelerationMg;
    cliContext.pOrientation = &g_orientation;
    cliContext.pTiltDirection = &g_tiltDirection;
    cliContext.pTapCount = &g_tapCount;
    cliContext.pSampleCount = &g_processedSampleCount;
    cliContext.pFramesGenerated = &g_telemetryFramesGenerated;
    cliContext.pFramesDropped = &g_telemetryFramesDropped;
    cliContext.pSensorRateHz = &g_sensorRateHz;
    cliContext.pTelemetryEnabled = &g_telemetryEnabled;

    CLI_Init(&cliContext);

    for (;;)
    {
        while (UART2_AsyncReadByte(&receivedByte) != 0U)
        {
            g_rxBytesConsumed++;
            CLI_ProcessByte(receivedByte);
        }

        osDelay(10U);
    }
  /* USER CODE END StartCliTask */
}

void HAL_TIM_PeriodElapsedCallback(TIM_HandleTypeDef *htim)
{
  if (htim->Instance == TIM6)
  {
    HAL_IncTick();
  }
}

void Error_Handler(void)
{
  __disable_irq();
  while (1)
  {
  }
}

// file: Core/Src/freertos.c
/* USER CODE BEGIN Header */
/**
  ******************************************************************************
  * File Name          : freertos.c
  * Description        : Code for freertos applications
  ******************************************************************************
  * @attention
  *
  * Copyright (c) 2026 STMicroelectronics.
  * All rights reserved.
  *
  * This software is licensed under terms that can be found in the LICENSE file
  * in the root directory of this software component.
  * If no LICENSE file comes with this software, it is provided AS-IS.
  *
  ******************************************************************************
  */
/* USER CODE END Header */

#include "FreeRTOS.h"
#include "task.h"
#include "main.h"

/* USER CODE BEGIN Application */
volatile uint32_t g_stackOverflowDetected = 0U;
volatile uint32_t g_mallocFailureDetected = 0U;
const char * volatile g_stackOverflowTaskName = 0;

void vApplicationStackOverflowHook(TaskHandle_t taskHandle, char *taskName)
{
    (void)taskHandle;

    g_stackOverflowDetected = 1U;
    g_stackOverflowTaskName = taskName;

    taskDISABLE_INTERRUPTS();

    for (;;)
    {
    }
}

void vApplicationMallocFailedHook(void)
{
    g_mallocFailureDetected = 1U;

    taskDISABLE_INTERRUPTS();

    for (;;)
    {
    }
}

/* USER CODE END Application */
